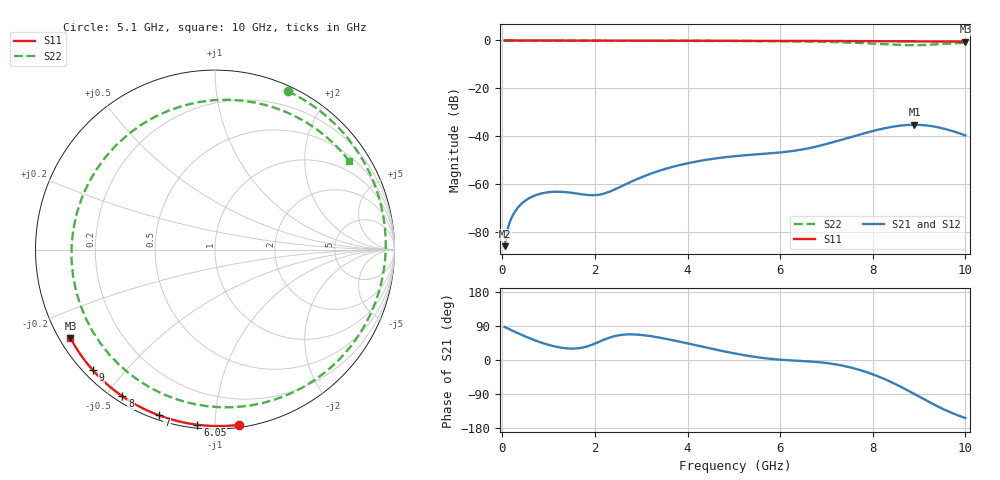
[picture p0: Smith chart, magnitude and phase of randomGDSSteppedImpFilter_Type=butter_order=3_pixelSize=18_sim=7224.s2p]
! freq	dB(S11)	phase(S11)	dB(S12)	phase(S12)
!  dB(S21)	phase(S21)	dB(S22)	phase(S22)
!S-par simulation data
#  GHz  S  DB  R 50
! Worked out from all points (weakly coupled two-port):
!   200 points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, 50 MHz to 10 GHz, reference 50 ohm
!   highest |S21| = -35.30 dB at 8.9 GHz (marker M1); lowest = -86.1 dB at 50 MHz (marker M2)
!   lowest |S11| = -0.5 dB at 10 GHz (marker M3), VSWR 34.76, Z = 1.55 - j14.1 ohm
!   |S11| at or under -10 dB: nowhere
!   |S22| runs from -2.0 to 0.0 dB; largest |S21 - S12| = 0
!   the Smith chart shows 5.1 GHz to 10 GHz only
!   S11 on the Smith chart (normalised r, x): 5.1 GHz: 0.02, -1.15; 6.05 GHz: 0.02, -0.90; 7 GHz: 0.02, -0.72; 8 GHz: 0.02, -0.55; 9 GHz: 0.03, -0.41; 10 GHz: 0.03, -0.28
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0.05  -0.00 -0.9  -86.14 87.1  -86.14 87.1  -0.00 -5.0
0.4  -0.01 -6.9  -68.65 67.3  -68.65 67.3  -0.06 -39.2
0.85  -0.02 -14.6  -64.04 45.6  -64.04 45.6  -0.09 -79.0
1.25  -0.03 -21.3  -63.36 32.9  -63.36 32.9  -0.11 -109.1
1.75  -0.04 -29.7  -64.50 33.2  -64.50 33.2  -0.13 -140.7
2.5  -0.05 -42.0  -61.75 64.9  -61.75 64.9  -0.14 -179.8
3.4  -0.08 -56.4  -54.50 59.0  -54.50 59.0  -0.17 139.6
4.25  -0.10 -69.5  -50.48 37.1  -50.48 37.1  -0.20 103.0
5.05  -0.13 -81.4  -48.41 16.6  -48.41 16.6  -0.25 67.6
5.1  -0.13 -82.2  -48.32 15.4  -48.32 15.4  -0.25 65.4
6.05  -0.17 -95.7  -46.81 0.3  -46.81 0.3  -0.36 19.9
6.7  -0.20 -104.7  -44.79 -4.4  -44.79 -4.4  -0.51 -14.7
7  -0.22 -108.8  -43.35 -7.9  -43.35 -7.9  -0.62 -32.3
7.55  -0.26 -116.2  -40.32 -20.6  -40.32 -20.6  -0.93 -69.0
8  -0.30 -122.2  -37.93 -37.8  -37.93 -37.8  -1.31 -105.7
8.35  -0.33 -126.9  -36.40 -55.5  -36.40 -55.5  -1.67 -140.7
8.65  -0.35 -130.8  -35.55 -73.6  -35.55 -73.6  -1.92 -175.8
8.9  -0.38 -134.1  -35.30 -90.0  -35.30 -90.0  -1.98 152.5
9  -0.39 -135.4  -35.35 -96.7  -35.35 -96.7  -1.95 139.7
9.25  -0.41 -138.7  -35.82 -113.1  -35.82 -113.1  -1.76 108.4
9.45  -0.44 -141.3  -36.54 -125.5  -36.54 -125.5  -1.54 85.2
10  -0.50 -148.6  -39.77 -153.1  -39.77 -153.1  -0.95 33.4
